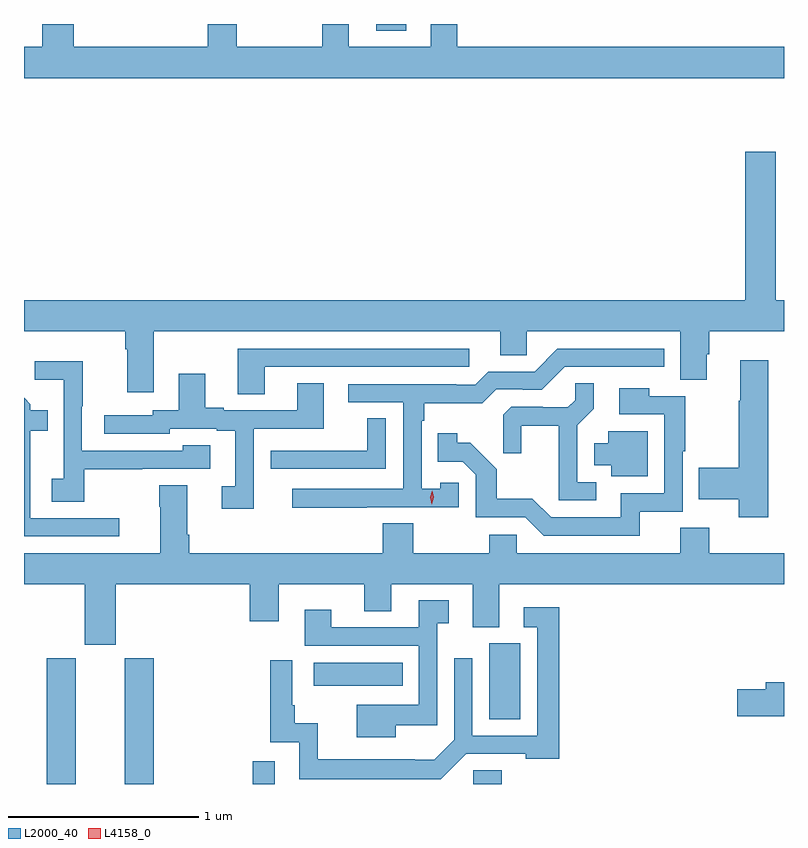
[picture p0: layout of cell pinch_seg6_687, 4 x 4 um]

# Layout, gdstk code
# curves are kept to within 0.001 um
import gdstk
lib = gdstk.Library(unit=1e-6, precision=1e-09)
def R(c, l, rs):  # rectangles x0, y0, x1, y1
    for r in rs: c.add(gdstk.rectangle(r[:2], r[2:], *l))
def P(c, l, *ps):  # polygons
    for p in ps: c.add(gdstk.Polygon(p, *l))
L2000_40 = (2000, 40)
L4158_0 = (4158, 0)

pinch_seg6_687 = lib.new_cell('pinch_seg6_687')
R(pinch_seg6_687, L2000_40, [(432.986,946.285,433.138,946.947), (433.394,946.285,433.547,946.947), (434.068,946.285,434.184,946.405), (435.229,946.285,435.38,946.358), (435.314,946.626,435.478,947.025), (434.391,946.802,434.858,946.924), (434.72,950.25,434.878,950.285)])
P(pinch_seg6_687, L2000_40, [(436.865,950.164),(435.145,950.164),(435.145,950.285),(435.005,950.285),(435.005,950.164),(434.575,950.164),(434.575,950.285),(434.435,950.285),(434.435,950.164),(433.984,950.164),(433.984,950.285),(433.832,950.285),(433.832,950.164),(433.126,950.164),(433.126,950.285),(432.962,950.285),(432.962,950.164),(432.865,950.164),(432.865,950),(436.865,950)],
  [(433.549,948.668),(435.371,948.668),(435.371,948.541),(435.51,948.541),(435.51,948.668),(436.319,948.668),(436.319,948.412),(436.459,948.412),(436.459,948.546),(436.472,948.546),(436.472,948.668),(436.865,948.668),(436.865,948.832),(436.821,948.832),(436.821,949.612),(436.661,949.612),(436.661,948.832),(432.865,948.832),(432.865,948.668),(433.397,948.668),(433.397,948.572),(433.409,948.572),(433.409,948.348),(433.549,948.348)],
  [(434.131,948.48),(435.208,948.48),(435.208,948.576),(433.991,948.576),(433.991,948.337),(434.131,948.337)],
  [(434.669,947.742),(435.153,947.742),(435.153,947.871),(435.057,947.871),(435.057,947.839),(434.958,947.839),(434.958,948.197),(434.971,948.197),(434.971,948.29),(435.278,948.29),(435.351,948.363),(435.49,948.363),(435.49,948.36),(435.591,948.36),(435.711,948.48),(436.234,948.48),(436.234,948.576),(435.672,948.576),(435.552,948.456),(435.309,948.456),(435.24,948.387),(435.14,948.387),(435.14,948.39),(434.571,948.39),(434.571,948.294),(434.862,948.294),(434.862,947.838),(434.277,947.838),(434.277,947.74),(434.669,947.74)],
  [(436.781,948.514),(436.634,948.514),(436.634,948.301),(436.627,948.301),(436.627,947.949),(436.417,947.949),(436.417,947.783),(436.627,947.783),(436.627,947.688),(436.781,947.688)],
  [(433.183,947.941),(433.487,947.941),(433.487,947.943),(433.846,947.943),(433.846,948.067),(433.701,948.067),(433.701,948.039),(433.17,948.039),(433.17,948.272),(433.173,948.272),(433.173,948.511),(432.921,948.511),(432.921,948.413),(433.074,948.413),(433.074,947.892),(433.011,947.892),(433.011,947.77),(433.183,947.77)],
  [(434.073,948.156),(434.443,948.156),(434.443,948.395),(434.303,948.395),(434.303,948.252),(433.915,948.252),(433.915,948.265),(433.819,948.265),(433.819,948.445),(433.679,948.445),(433.679,948.252),(433.542,948.252),(433.542,948.225),(433.287,948.225),(433.287,948.129),(433.632,948.129),(433.632,948.156),(433.88,948.156),(433.88,948.144),(433.976,948.144),(433.976,947.853),(433.905,947.853),(433.905,947.733),(434.073,947.733)],
  [(435.877,947.874),(435.777,947.874),(435.777,948.173),(435.863,948.259),(435.863,948.395),(435.765,948.395),(435.765,948.304),(435.728,948.267),(435.594,948.267),(435.594,948.27),(435.429,948.27),(435.388,948.229),(435.388,948.027),(435.482,948.027),(435.482,948.17),(435.68,948.17),(435.68,947.778),(435.877,947.778)],
  [(436.106,947.718),(436.332,947.718),(436.332,948.037),(436.345,948.037),(436.345,948.327),(436.155,948.327),(436.155,948.367),(435.999,948.367),(435.999,948.231),(436.236,948.231),(436.236,947.814),(436.007,947.814),(436.007,947.688),(435.639,947.688),(435.541,947.787),(435.352,947.787),(435.352,947.942),(435.214,948.08),(435.144,948.08),(435.144,948.13),(435.043,948.13),(435.043,947.982),(435.174,947.982),(435.243,947.913),(435.243,947.688),(435.504,947.688),(435.6,947.592),(436.106,947.592)],
  [(433.366,947.685),(432.898,947.685),(432.898,948.144),(432.989,948.144),(432.989,948.253),(432.897,948.253),(432.897,948.285),(432.865,948.317),(432.865,947.589),(433.366,947.589)],
  [(434.769,948.209),(434.671,948.209),(434.671,948.039),(434.275,948.039),(434.275,948.038),(434.163,948.038),(434.163,947.943),(434.769,947.943)],
  [(436.147,948.142),(435.941,948.142),(435.941,948.079),(435.866,948.079),(435.866,947.963),(435.956,947.963),(435.956,947.906),(436.147,947.906)],
  [(433.348,947.336),(434.054,947.336),(434.054,947.142),(434.206,947.142),(434.206,947.336),(434.657,947.336),(434.657,947.194),(434.797,947.194),(434.797,947.336),(435.227,947.336),(435.227,947.11),(435.367,947.11),(435.367,947.336),(436.865,947.336),(436.865,947.5),(436.472,947.5),(436.472,947.633),(436.319,947.633),(436.319,947.5),(435.459,947.5),(435.459,947.598),(435.313,947.598),(435.313,947.5),(434.913,947.5),(434.913,947.657),(434.753,947.657),(434.753,947.5),(433.736,947.5),(433.736,947.596),(433.723,947.596),(433.723,947.857),(433.576,947.857),(433.576,947.744),(433.583,947.744),(433.583,947.5),(432.865,947.5),(432.865,947.336),(433.184,947.336),(433.184,947.019),(433.348,947.019)],
  [(434.821,946.595),(435.039,946.595),(435.039,947.13),(435.1,947.13),(435.1,947.251),(434.942,947.251),(434.942,947.109),(434.482,947.109),(434.482,947.203),(434.342,947.203),(434.342,947.013),(434.943,947.013),(434.943,946.702),(434.615,946.702),(434.615,946.532),(434.821,946.532)],
  [(435.192,946.443),(435.507,946.443),(435.507,946.418),(435.683,946.418),(435.683,947.215),(435.495,947.215),(435.495,947.109),(435.567,947.109),(435.567,946.539),(435.225,946.539),(435.225,946.948),(435.129,946.948),(435.129,946.518),(435.024,946.413),(434.411,946.414),(434.411,946.604),(434.29,946.604),(434.29,946.699),(434.277,946.699),(434.277,946.936),(434.161,946.936),(434.161,946.506),(434.313,946.506),(434.313,946.31),(435.059,946.31)],
  [(436.865,946.82),(436.769,946.82),(436.769,946.784),(436.62,946.784),(436.62,946.642),(436.865,946.642)])
P(pinch_seg6_687, L4158_0, [(435.011,947.757),(435.011,947.758),(435.002,947.794),(435.013,947.829),(435.013,947.829),(435.013,947.829),(435.022,947.793),(435.011,947.758)])

lib.write_gds('pinch_seg6_687.gds')
